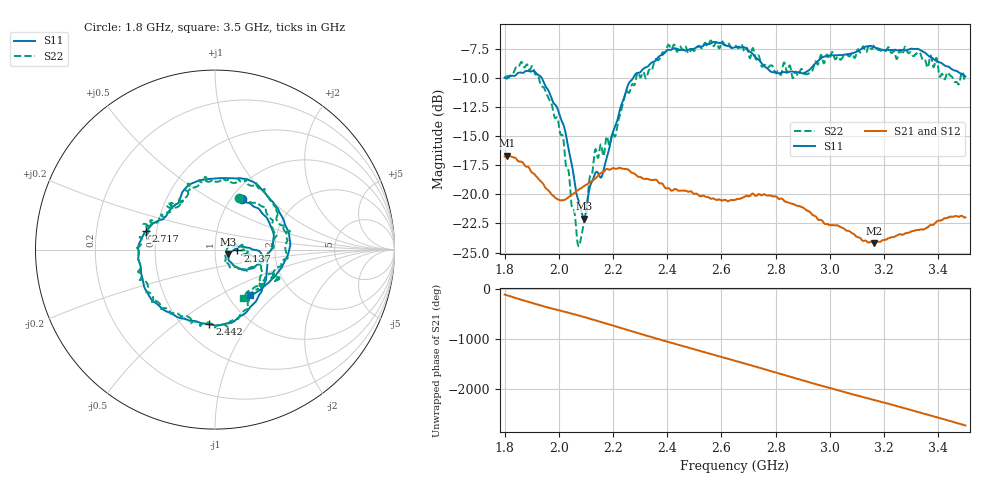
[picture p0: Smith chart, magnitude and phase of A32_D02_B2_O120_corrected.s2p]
! Created with skrf 1.9.0 (http://scikit-rf.org).
# Hz S RI R 50.0
!freq ReS11 ImS11 ReS21 ImS21 ReS12 ImS12 ReS22 ImS22
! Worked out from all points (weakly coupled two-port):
!   1601 points, 1.8 GHz to 3.5 GHz, reference 50 ohm
!   highest |S21| = -16.68 dB at 1.81 GHz (marker M1); lowest = -24.2 dB at 3.163 GHz (marker M2)
!   lowest |S11| = -22.1 dB at 2.092 GHz (marker M3), VSWR 1.17, Z = 58 - j2.83 ohm
!   |S11| at or under -10 dB: 1.801 GHz to 1.813 GHz (12.34 MHz wide, 0.683 % of centre); 1.937 GHz to 2.275 GHz (338 MHz wide, 16.1 % of centre)
!   |S22| runs from -24.4 to -6.8 dB; largest |S21 - S12| = 0.0025
!   S11 on the Smith chart (normalised r, x): 1.8 GHz: 1.12, +0.70; 2.137 GHz: 1.28, -0.01; 2.442 GHz: 0.67, -0.67; 2.717 GHz: 0.44, +0.11; 3.5 GHz: 1.27, -0.71
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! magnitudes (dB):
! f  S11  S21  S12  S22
! 1.8 GHz  -10.0  -16.8  -16.8  -10.0
! 1.81 GHz  -10.0  -16.7  -16.7  -9.8
! 1.864 GHz  -9.6  -17.2  -17.3  -8.7
! 1.952 GHz  -10.8  -19.5  -19.4  -11.2
! 2.019 GHz  -14.2  -20.5  -20.5  -15.7
! 2.07 GHz  -20.3  -19.6  -19.7  -24.3
! 2.084 GHz  -21.5  -19.5  -19.4  -23.6
! 2.092 GHz  -22.1  -19.3  -19.3  -22.5
! 2.137 GHz  -18.1  -18.6  -18.6  -16.1
! 2.161 GHz  -18.3  -18.1  -18.0  -16.4
! 2.209 GHz  -14.1  -17.8  -17.8  -15.0
! 2.259 GHz  -10.4  -17.9  -17.9  -11.3
! 2.367 GHz  -8.2  -19.0  -18.9  -8.5
! 2.442 GHz  -7.6  -19.7  -19.7  -7.5
! 2.65 GHz  -7.4  -20.5  -20.4  -7.2
! 2.717 GHz  -8.0  -19.9  -19.9  -7.5
! 2.788 GHz  -9.5  -20.2  -20.1  -9.0
! 2.934 GHz  -9.1  -21.7  -21.7  -9.5
! 3.163 GHz  -7.3  -24.2  -24.2  -7.2
! 3.217 GHz  -7.6  -23.7  -23.7  -7.4
! 3.327 GHz  -7.5  -23.1  -23.0  -7.8
! 3.5 GHz  -9.9  -22.0  -21.9  -10.1
